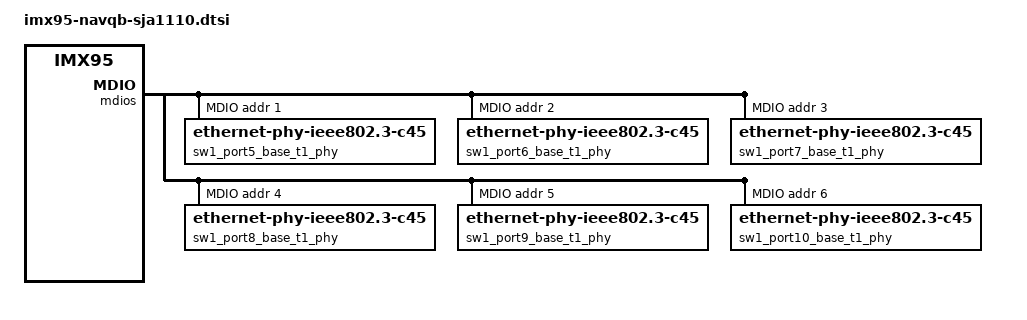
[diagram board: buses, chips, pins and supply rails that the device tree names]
&sja1110_ap {
        ethernet-ports {
                #address-cells = <1>;
                #size-cells = <0>;

                /* Microcontroller port */
                port@0 {
                        reg = <0>;
                        status = "disabled";
                };

                /* TODO: TJA1120 */
                port@1 {
                        reg = <1>;
                        status = "disabled";
                };

                /* TODO: TJA1120 */
                port@2 {
                        reg = <2>;
                        status = "disabled";
                };

                /* Not used */
                port@3 {
                        reg = <3>;
                        status = "disabled";
                };

                port@4 {
                        reg = <4>;
                        label = "cpu";
                        phy-mode = "2500base-x";
                        ethernet = <&enetc_port2>;
                        status = "okay";

                        fixed-link {
                                speed = <2500>;
                                full-duplex;
                        };
                };

                port@5 {
                        reg = <5>;
                        label = "trx1";
                        phy-mode = "internal";
                        phy-handle = <&sw1_port5_base_t1_phy>;
                };

                port@6 {
                        reg = <6>;
                        label = "trx2";
                        phy-mode = "internal";
                        phy-handle = <&sw1_port6_base_t1_phy>;
                };

                port@7 {
                        reg = <7>;
                        label = "trx3";
                        phy-mode = "internal";
                        phy-handle = <&sw1_port7_base_t1_phy>;
                };

                port@8 {
                        reg = <8>;
                        label = "trx4";
                        phy-mode = "internal";
                        phy-handle = <&sw1_port8_base_t1_phy>;
                };

                port@9 {
                        reg = <9>;
                        label = "trx5";
                        phy-mode = "internal";
                        phy-handle = <&sw1_port9_base_t1_phy>;
                };

                port@a {
                        reg = <10>;
                        label = "trx6";
                        phy-mode = "internal";
                        phy-handle = <&sw1_port10_base_t1_phy>;
                };
        };

        mdios {
                #address-cells = <1>;
                #size-cells = <0>;

                mdio@0 {
                        compatible = "nxp,sja1110-base-t1-mdio";
                        #address-cells = <1>;
                        #size-cells = <0>;
                        reg = <0>;

                        sw1_port5_base_t1_phy: ethernet-phy@1 {
                                compatible = "ethernet-phy-ieee802.3-c45";
                                reg = <0x1>;
                        };

                        sw1_port6_base_t1_phy: ethernet-phy@2 {
                                compatible = "ethernet-phy-ieee802.3-c45";
                                reg = <0x2>;
                        };

                        sw1_port7_base_t1_phy: ethernet-phy@3 {
                                compatible = "ethernet-phy-ieee802.3-c45";
                                reg = <0x3>;
                        };

                        sw1_port8_base_t1_phy: ethernet-phy@4 {
                                compatible = "ethernet-phy-ieee802.3-c45";
                                reg = <0x4>;
                        };

                        sw1_port9_base_t1_phy: ethernet-phy@5 {
                                compatible = "ethernet-phy-ieee802.3-c45";
                                reg = <0x5>;
                        };

                        sw1_port10_base_t1_phy: ethernet-phy@6 {
                                compatible = "ethernet-phy-ieee802.3-c45";
                                reg = <0x6>;
                        };
                };
        };
};
